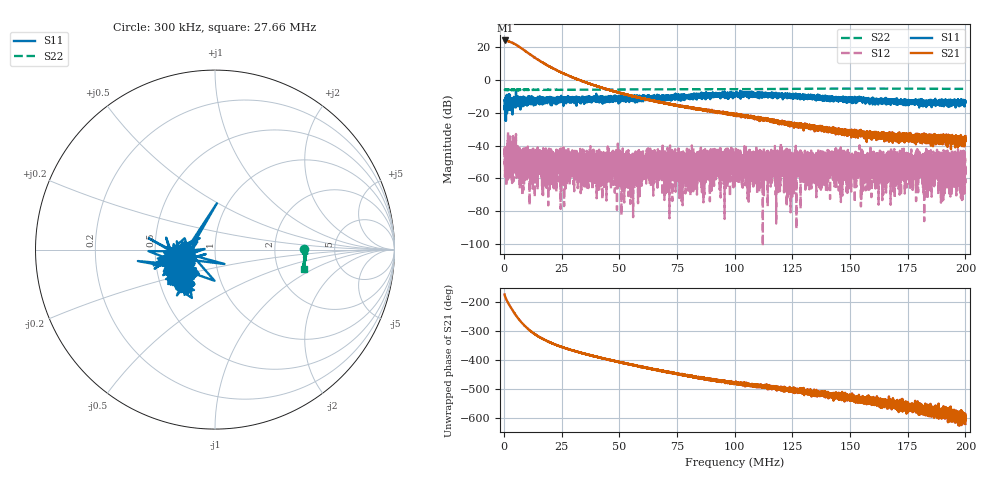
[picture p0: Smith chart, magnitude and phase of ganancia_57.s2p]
# Hz S DB R 50
! CMT, M5065, 19127446, 24.2.4/2
! Date: 11/8/2024 3:23:33 PM
! Data: Format (Calibration Info)
! Freq	S11:dB/Ang(F2)	S21:dB/Ang(F2)	S12:dB/Ang(F2)	S22:dB/Ang(F2)
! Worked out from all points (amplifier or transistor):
!   9000 points, 300 kHz to 200 MHz, reference 50 ohm
!   highest |S21| = 24.1 dB at 344.4 kHz (marker M1)
!   |S21| within 3 dB of that: start of sweep to 5.665 MHz
!   unconditionally stable (mu >= 1): start of sweep to end of sweep
!   at 33.59 MHz: K = 70.94, MAG = 0.9 dB, |S12| = -45.5 dB
!   at 100.2 MHz: K = 707.60, MAG = -18.7 dB, |S12| = -46.3 dB
!   at 200 MHz: K = 5654.33, MAG = -32.5 dB, |S12| = -50.3 dB
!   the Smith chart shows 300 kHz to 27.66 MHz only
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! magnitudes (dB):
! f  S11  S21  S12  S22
! 300 kHz  -15.7  24.1  -41.6  -6.1
! 344.4 kHz  -17.0  24.1  -51.3  -6.0
! 1.321 MHz  -20.4  23.9  -43.4  -5.9
! 5.249 MHz  -7.2  21.4  -44.5  -6.0
! 8.888 MHz  -12.0  18.1  -41.8  -6.1
! 21.71 MHz  -11.6  6.8  -65.7  -5.9
! 33.59 MHz  -13.3  -0.6  -45.5  -5.9
! 66.87 MHz  -11.0  -13.4  -48.3  -5.7
! 79.32 MHz  -10.2  -16.4  -41.8  -5.6
! 100.2 MHz  -8.9  -20.7  -46.3  -5.6
! 116.4 MHz  -8.1  -24.6  -59.0  -5.5
! 118.8 MHz  -8.8  -24.9  -69.3  -5.4
! 120.9 MHz  -11.7  -25.5  -47.2  -5.4
! 123.6 MHz  -10.3  -26.5  -53.3  -5.4
! 133.4 MHz  -9.9  -29.1  -51.8  -5.3
! 147.4 MHz  -12.1  -32.1  -47.9  -5.2
! 149.7 MHz  -11.6  -30.4  -55.4  -5.2
! 153.8 MHz  -11.9  -31.7  -51.7  -5.2
! 161.5 MHz  -12.8  -33.4  -65.6  -5.2
! 166.7 MHz  -13.6  -33.2  -48.5  -5.2
! 182.8 MHz  -15.7  -35.0  -50.0  -5.3
! 200 MHz  -13.7  -34.2  -50.3  -5.4
